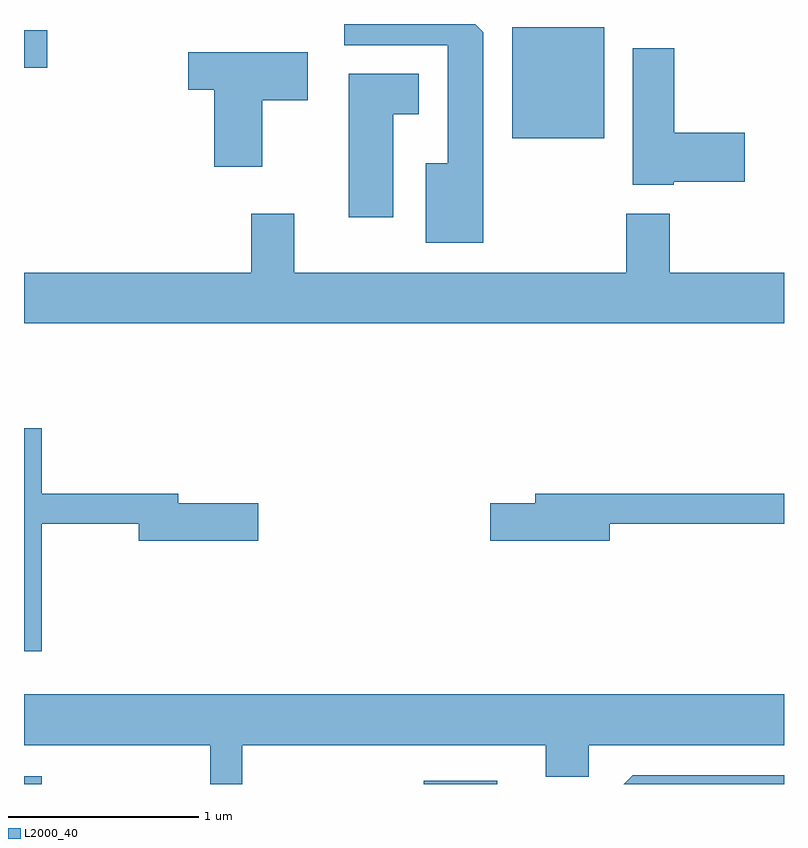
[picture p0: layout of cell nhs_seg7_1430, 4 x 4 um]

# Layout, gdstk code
import gdstk
lib = gdstk.Library(unit=1e-6, precision=1e-09)
def R(c, l, rs):  # rectangles x0, y0, x1, y1
    for r in rs: c.add(gdstk.rectangle(r[:2], r[2:], *l))
def P(c, l, *ps):  # polygons
    for p in ps: c.add(gdstk.Polygon(p, *l))
L2000_40 = (2000, 40)

nhs_seg7_1430 = lib.new_cell('nhs_seg7_1430')
R(nhs_seg7_1430, L2000_40, [(227.611,1796.252,227.704,1796.294), (229.716,1796.252,230.103,1796.269), (230.181,1799.651,230.664,1800.234), (227.611,1800.021,227.734,1800.219)])
P(nhs_seg7_1430, L2000_40, [(230.029,1800.209),(229.986,1800.252),(229.296,1800.252),(229.296,1800.141),(229.841,1800.141),(229.841,1799.519),(229.726,1799.519),(229.726,1799.101),(230.029,1799.101)],
  [(231.03,1799.421),(231.404,1799.421),(231.404,1799.679),(231.034,1799.679),(231.034,1800.124),(230.816,1800.124),(230.816,1799.406),(231.03,1799.406)],
  [(228.864,1799.851),(229.104,1799.851),(229.104,1800.104),(228.476,1800.104),(228.476,1799.906),(228.611,1799.906),(228.611,1799.501),(228.864,1799.501)],
  [(229.554,1799.776),(229.689,1799.776),(229.689,1799.989),(229.321,1799.989),(229.321,1799.236),(229.554,1799.236)],
  [(231.611,1798.944),(231.009,1798.944),(231.009,1799.254),(230.781,1799.254),(230.781,1798.944),(229.034,1798.944),(229.034,1799.254),(228.806,1799.254),(228.806,1798.944),(227.611,1798.944),(227.611,1798.676),(231.611,1798.676)],
  [(227.704,1797.621),(228.216,1797.621),(228.216,1797.531),(228.844,1797.531),(228.844,1797.729),(228.424,1797.729),(228.424,1797.779),(227.704,1797.779),(227.704,1798.124),(227.611,1798.124),(227.611,1796.951),(227.704,1796.951)],
  [(230.694,1797.621),(231.611,1797.621),(231.611,1797.779),(230.301,1797.779),(230.301,1797.729),(230.066,1797.729),(230.066,1797.531),(230.694,1797.531)],
  [(228.759,1796.456),(230.356,1796.456),(230.356,1796.291),(230.584,1796.291),(230.584,1796.456),(231.611,1796.456),(231.611,1796.724),(227.611,1796.724),(227.611,1796.456),(228.591,1796.456),(228.591,1796.252),(228.759,1796.252)],
  [(231.611,1796.299),(230.814,1796.299),(230.767,1796.252),(231.611,1796.252)])

lib.write_gds('nhs_seg7_1430.gds')
